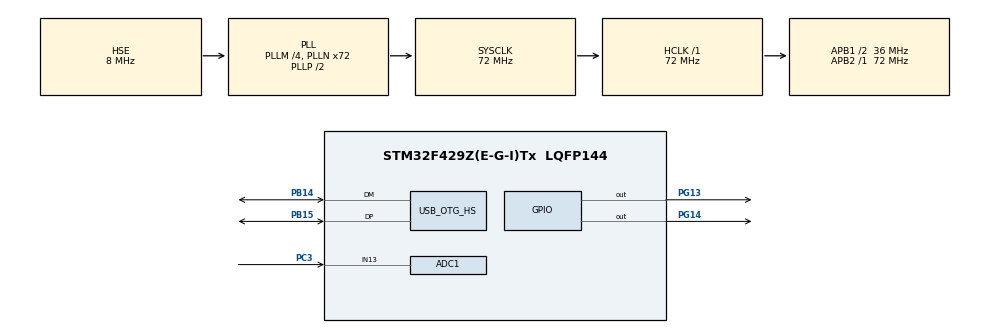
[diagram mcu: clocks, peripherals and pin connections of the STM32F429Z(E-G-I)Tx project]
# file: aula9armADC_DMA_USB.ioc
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ADC1.Channel-0\#ChannelRegularConversion=ADC_CHANNEL_13
ADC1.DMAContinuousRequests=ENABLE
ADC1.ExternalTrigConv=ADC_EXTERNALTRIGCONV_T2_TRGO
ADC1.NbrOfConversionFlag=1
ADC1.Rank-0\#ChannelRegularConversion=1
ADC1.SamplingTime-0\#ChannelRegularConversion=ADC_SAMPLETIME_3CYCLES
ADC1.master=1
Dma.ADC1.0.Direction=DMA_PERIPH_TO_MEMORY
Dma.ADC1.0.FIFOMode=DMA_FIFOMODE_DISABLE
Dma.ADC1.0.Instance=DMA2_Stream0
Dma.ADC1.0.MemDataAlignment=DMA_MDATAALIGN_HALFWORD
Dma.ADC1.0.MemInc=DMA_MINC_ENABLE
Dma.ADC1.0.Mode=DMA_CIRCULAR
Dma.ADC1.0.PeriphDataAlignment=DMA_PDATAALIGN_HALFWORD
Dma.ADC1.0.PeriphInc=DMA_PINC_DISABLE
Dma.ADC1.0.Priority=DMA_PRIORITY_LOW
Dma.Request0=ADC1
Mcu.Family=STM32F4
Mcu.Name=STM32F429Z(E-G-I)Tx
Mcu.Package=LQFP144
NVIC.DMA2_Stream0_IRQn=true\:0\:0\:false\:false\:true
NVIC.OTG_HS_IRQn=true\:0\:0\:false\:false\:true
NVIC.PriorityGroup=NVIC_PRIORITYGROUP_4
PA13.Mode=Serial_Wire
PA13.Signal=SYS_JTMS-SWDIO
PA14.Mode=Serial_Wire
PA14.Signal=SYS_JTCK-SWCLK
PB14.Mode=Device_Only_FS
PB14.Signal=USB_OTG_HS_DM
PB15.Mode=Device_Only_FS
PB15.Signal=USB_OTG_HS_DP
PC3.Signal=ADCx_IN13
PG13.Signal=GPIO_Output
PG14.Signal=GPIO_Output
PH0/OSC_IN.Mode=HSE-External-Oscillator
PH0/OSC_IN.Signal=RCC_OSC_IN
PH1/OSC_OUT.Mode=HSE-External-Oscillator
PH1/OSC_OUT.Signal=RCC_OSC_OUT
ProjectManager.HeapSize=0x200
ProjectManager.StackSize=0x400
ProjectManager.TargetToolchain=MDK-ARM V5
RCC.48MHZClocksFreq_Value=48000000
RCC.AHBFreq_Value=72000000
RCC.APB1CLKDivider=RCC_HCLK_DIV2
RCC.APB1Freq_Value=36000000
RCC.APB1TimFreq_Value=72000000
RCC.APB2Freq_Value=72000000
RCC.APB2TimFreq_Value=72000000
RCC.CortexFreq_Value=72000000
RCC.HCLKFreq_Value=72000000
RCC.HSE_VALUE=8000000
RCC.HSI_VALUE=16000000
RCC.LSE_VALUE=32768
RCC.PLLM=4
RCC.PLLN=72
RCC.PLLQ=3
RCC.SYSCLKFreq_VALUE=72000000
RCC.SYSCLKSource=RCC_SYSCLKSOURCE_PLLCLK
RCC.VCOOutputFreq_Value=144000000
SH.ADCx_IN13.0=ADC1_IN13,IN13
TIM2.Period=10000
TIM2.Prescaler=2100
TIM2.TIM_MasterOutputTrigger=TIM_TRGO_UPDATE
USB_DEVICE.CLASS_NAME_HS=CDC
USB_DEVICE.VirtualModeHS=Cdc_HS
USB_OTG_HS.VirtualMode-Device_Only_FS=Device_Only_FS
VP_TIM2_VS_ClockSourceINT.Mode=Internal
VP_USB_DEVICE_VS_USB_DEVICE_CDC_HS.Mode=CDC_HS
board=aula9armADC_DMA_USB

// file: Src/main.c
/**
  ******************************************************************************
  * File Name          : main.c
  * Description        : Main program body
  ******************************************************************************
  * This notice applies to any and all portions of this file
  * that are not between comment pairs USER CODE BEGIN and
  * USER CODE END. Other portions of this file, whether
  * inserted by the user or by software development tools
  * are owned by their respective copyright owners.
  *
  * Copyright (c) 2017 STMicroelectronics International N.V.
  * All rights reserved.
  *
  * Redistribution and use in source and binary forms, with or without
  * modification, are permitted, provided that the following conditions are met:
  *
  * 1. Redistribution of source code must retain the above copyright notice,
  *    this list of conditions and the following disclaimer.
  * 2. Redistributions in binary form must reproduce the above copyright notice,
  *    this list of conditions and the following disclaimer in the documentation
  *    and/or other materials provided with the distribution.
  * 3. Neither the name of STMicroelectronics nor the names of other
  *    contributors to this software may be used to endorse or promote products
  *    derived from this software without specific written permission.
  * 4. This software, including modifications and/or derivative works of this
  *    software, must execute solely and exclusively on microcontroller or
  *    microprocessor devices manufactured by or for STMicroelectronics.
  * 5. Redistribution and use of this software other than as permitted under
  *    this license is void and will automatically terminate your rights under
  *    this license.
  *
  * THIS SOFTWARE IS PROVIDED BY STMICROELECTRONICS AND CONTRIBUTORS "AS IS"
  * AND ANY EXPRESS, IMPLIED OR STATUTORY WARRANTIES, INCLUDING, BUT NOT
  * LIMITED TO, THE IMPLIED WARRANTIES OF MERCHANTABILITY, FITNESS FOR A
  * PARTICULAR PURPOSE AND NON-INFRINGEMENT OF THIRD PARTY INTELLECTUAL PROPERTY
  * RIGHTS ARE DISCLAIMED TO THE FULLEST EXTENT PERMITTED BY LAW. IN NO EVENT
  * SHALL STMICROELECTRONICS OR CONTRIBUTORS BE LIABLE FOR ANY DIRECT, INDIRECT,
  * INCIDENTAL, SPECIAL, EXEMPLARY, OR CONSEQUENTIAL DAMAGES (INCLUDING, BUT NOT
  * LIMITED TO, PROCUREMENT OF SUBSTITUTE GOODS OR SERVICES; LOSS OF USE, DATA,
  * OR PROFITS; OR BUSINESS INTERRUPTION) HOWEVER CAUSED AND ON ANY THEORY OF
  * LIABILITY, WHETHER IN CONTRACT, STRICT LIABILITY, OR TORT (INCLUDING
  * NEGLIGENCE OR OTHERWISE) ARISING IN ANY WAY OUT OF THE USE OF THIS SOFTWARE,
  * EVEN IF ADVISED OF THE POSSIBILITY OF SUCH DAMAGE.
  *
  ******************************************************************************
  */
#include "main.h"
#include "stm32f4xx_hal.h"
#include "usb_device.h"

/* USER CODE BEGIN Includes */

#define ADC_BUFFER_SIZE 16

/* USER CODE END Includes */

ADC_HandleTypeDef hadc1;
DMA_HandleTypeDef hdma_adc1;

TIM_HandleTypeDef htim2;

/* USER CODE BEGIN PV */
/* Private variables ---------------------------------------------------------*/

extern char VCPInitialized; // indica interface USB pronta
uint8_t *USBptr; // ponteiro para inнcio do buffer de dados amostrados
uint8_t *USBptr2; // ponteiro para meio do buffer de dados amostrados
uint16_t DMA_USB_Buffer[16]; // Buffer que recebe dados do ADC
uint16_t DMA_USB_teste[]={0x3030, 0x3131, 0x3232, 0x3333, 0x3434, 0x3535,
0x3636, 0x3737, 0x3838, 0x3939, 0x4141, 0x4242, 0x4343, 0x4444,
0x4545,0x4646}; // buffer que simula dados amostrados
uint32_t flag_buffer=0; // flag para envio do buffer

/* USER CODE END PV */

void SystemClock_Config(void);
static void MX_GPIO_Init(void);
static void MX_DMA_Init(void);
static void MX_TIM2_Init(void);
static void MX_ADC1_Init(void);

/* USER CODE BEGIN PFP */
/* Private function prototypes -----------------------------------------------*/

extern uint8_t CDC_Transmit_HS(uint8_t*, uint16_t);

/* USER CODE END PFP */

int main(void)
{

  /* MCU Configuration----------------------------------------------------------*/

  /* Reset of all peripherals, Initializes the Flash interface and the Systick. */
  HAL_Init();

  /* Configure the system clock */
  SystemClock_Config();

  /* Initialize all configured peripherals */
  MX_GPIO_Init();
  MX_DMA_Init();
  MX_USB_DEVICE_Init();
  MX_TIM2_Init();
  MX_ADC1_Init();

  /* USER CODE BEGIN 2 */

	USBptr = (uint8_t*) DMA_USB_teste;
	USBptr2 = (uint8_t*)&DMA_USB_teste[8];

	while(!VCPInitialized) {
		HAL_GPIO_TogglePin(GPIOG, GPIO_PIN_14); // led red pisca se USB off
		HAL_Delay(500); }

	HAL_TIM_Base_Start_IT(&htim2);
	HAL_ADC_Start_DMA(&hadc1, (uint32_t *)DMA_USB_Buffer, (uint32_t)ADC_BUFFER_SIZE );

  /* USER CODE END 2 */

  /* Infinite loop */
  while (1)
  {
	if ( flag_buffer == 1) {
		CDC_Transmit_HS(USBptr,(uint16_t) ADC_BUFFER_SIZE);
		flag_buffer=0;
	};
	if ( flag_buffer == 2) {
		CDC_Transmit_HS(USBptr2,(uint16_t) ADC_BUFFER_SIZE);
		flag_buffer=0;
	};
  }

}

/** System Clock Configuration
*/
void SystemClock_Config(void)
{

  RCC_OscInitTypeDef RCC_OscInitStruct;
  RCC_ClkInitTypeDef RCC_ClkInitStruct;

    /**Configure the main internal regulator output voltage
    */
  __HAL_RCC_PWR_CLK_ENABLE();

  __HAL_PWR_VOLTAGESCALING_CONFIG(PWR_REGULATOR_VOLTAGE_SCALE3);

    /**Initializes the CPU, AHB and APB busses clocks
    */
  RCC_OscInitStruct.OscillatorType = RCC_OSCILLATORTYPE_HSE;
  RCC_OscInitStruct.HSEState = RCC_HSE_ON;
  RCC_OscInitStruct.PLL.PLLState = RCC_PLL_ON;
  RCC_OscInitStruct.PLL.PLLSource = RCC_PLLSOURCE_HSE;
  RCC_OscInitStruct.PLL.PLLM = 4;
  RCC_OscInitStruct.PLL.PLLN = 72;
  RCC_OscInitStruct.PLL.PLLP = RCC_PLLP_DIV2;
  RCC_OscInitStruct.PLL.PLLQ = 3;
  if (HAL_RCC_OscConfig(&RCC_OscInitStruct) != HAL_OK)
  {
    _Error_Handler(__FILE__, __LINE__);
  }

    /**Initializes the CPU, AHB and APB busses clocks
    */
  RCC_ClkInitStruct.ClockType = RCC_CLOCKTYPE_HCLK|RCC_CLOCKTYPE_SYSCLK
                              |RCC_CLOCKTYPE_PCLK1|RCC_CLOCKTYPE_PCLK2;
  RCC_ClkInitStruct.SYSCLKSource = RCC_SYSCLKSOURCE_PLLCLK;
  RCC_ClkInitStruct.AHBCLKDivider = RCC_SYSCLK_DIV1;
  RCC_ClkInitStruct.APB1CLKDivider = RCC_HCLK_DIV2;
  RCC_ClkInitStruct.APB2CLKDivider = RCC_HCLK_DIV1;

  if (HAL_RCC_ClockConfig(&RCC_ClkInitStruct, FLASH_LATENCY_2) != HAL_OK)
  {
    _Error_Handler(__FILE__, __LINE__);
  }

    /**Configure the Systick interrupt time
    */
  HAL_SYSTICK_Config(HAL_RCC_GetHCLKFreq()/1000);

    /**Configure the Systick
    */
  HAL_SYSTICK_CLKSourceConfig(SYSTICK_CLKSOURCE_HCLK);

  /* SysTick_IRQn interrupt configuration */
  HAL_NVIC_SetPriority(SysTick_IRQn, 0, 0);
}

/* ADC1 init function */
static void MX_ADC1_Init(void)
{

  ADC_ChannelConfTypeDef sConfig;

    /**Configure the global features of the ADC (Clock, Resolution, Data Alignment and number of conversion)
    */
  hadc1.Instance = ADC1;
  hadc1.Init.ClockPrescaler = ADC_CLOCK_SYNC_PCLK_DIV2;
  hadc1.Init.Resolution = ADC_RESOLUTION_12B;
  hadc1.Init.ScanConvMode = DISABLE;
  hadc1.Init.ContinuousConvMode = DISABLE;
  hadc1.Init.DiscontinuousConvMode = DISABLE;
  hadc1.Init.ExternalTrigConvEdge = ADC_EXTERNALTRIGCONVEDGE_RISING;
  hadc1.Init.ExternalTrigConv = ADC_EXTERNALTRIGCONV_T2_TRGO;
  hadc1.Init.DataAlign = ADC_DATAALIGN_RIGHT;
  hadc1.Init.NbrOfConversion = 1;
  hadc1.Init.DMAContinuousRequests = ENABLE;
  hadc1.Init.EOCSelection = ADC_EOC_SINGLE_CONV;
  if (HAL_ADC_Init(&hadc1) != HAL_OK)
  {
    _Error_Handler(__FILE__, __LINE__);
  }

    /**Configure for the selected ADC regular channel its corresponding rank in the sequencer and its sample time.
    */
  sConfig.Channel = ADC_CHANNEL_13;
  sConfig.Rank = 1;
  sConfig.SamplingTime = ADC_SAMPLETIME_3CYCLES;
  if (HAL_ADC_ConfigChannel(&hadc1, &sConfig) != HAL_OK)
  {
    _Error_Handler(__FILE__, __LINE__);
  }

}

/* TIM2 init function */
static void MX_TIM2_Init(void)
{

  TIM_ClockConfigTypeDef sClockSourceConfig;
  TIM_MasterConfigTypeDef sMasterConfig;

  htim2.Instance = TIM2;
  htim2.Init.Prescaler = 2100;
  htim2.Init.CounterMode = TIM_COUNTERMODE_UP;
  htim2.Init.Period = 10000;
  htim2.Init.ClockDivision = TIM_CLOCKDIVISION_DIV1;
  if (HAL_TIM_Base_Init(&htim2) != HAL_OK)
  {
    _Error_Handler(__FILE__, __LINE__);
  }

  sClockSourceConfig.ClockSource = TIM_CLOCKSOURCE_INTERNAL;
  if (HAL_TIM_ConfigClockSource(&htim2, &sClockSourceConfig) != HAL_OK)
  {
    _Error_Handler(__FILE__, __LINE__);
  }

  sMasterConfig.MasterOutputTrigger = TIM_TRGO_UPDATE;
  sMasterConfig.MasterSlaveMode = TIM_MASTERSLAVEMODE_DISABLE;
  if (HAL_TIMEx_MasterConfigSynchronization(&htim2, &sMasterConfig) != HAL_OK)
  {
    _Error_Handler(__FILE__, __LINE__);
  }

}

static void MX_DMA_Init(void)
{
  /* DMA controller clock enable */
  __HAL_RCC_DMA2_CLK_ENABLE();

  /* DMA interrupt init */
  /* DMA2_Stream0_IRQn interrupt configuration */
  HAL_NVIC_SetPriority(DMA2_Stream0_IRQn, 0, 0);
  HAL_NVIC_EnableIRQ(DMA2_Stream0_IRQn);

}

/** Configure pins as
        * Analog
        * Input
        * Output
        * EVENT_OUT
        * EXTI
*/
static void MX_GPIO_Init(void)
{

  GPIO_InitTypeDef GPIO_InitStruct;

  /* GPIO Ports Clock Enable */
  __HAL_RCC_GPIOH_CLK_ENABLE();
  __HAL_RCC_GPIOC_CLK_ENABLE();
  __HAL_RCC_GPIOB_CLK_ENABLE();
  __HAL_RCC_GPIOA_CLK_ENABLE();
  __HAL_RCC_GPIOG_CLK_ENABLE();

  /*Configure GPIO pin Output Level */
  HAL_GPIO_WritePin(GPIOG, GPIO_PIN_13|GPIO_PIN_14, GPIO_PIN_RESET);

  /*Configure GPIO pins : PG13 PG14 */
  GPIO_InitStruct.Pin = GPIO_PIN_13|GPIO_PIN_14;
  GPIO_InitStruct.Mode = GPIO_MODE_OUTPUT_PP;
  GPIO_InitStruct.Pull = GPIO_NOPULL;
  GPIO_InitStruct.Speed = GPIO_SPEED_FREQ_LOW;
  HAL_GPIO_Init(GPIOG, &GPIO_InitStruct);

}

/* USER CODE BEGIN 4 */

void HAL_ADC_ConvCpltCallback(ADC_HandleTypeDef* hadc) {
	flag_buffer=2;
	HAL_GPIO_WritePin(GPIOG, GPIO_PIN_13, GPIO_PIN_SET);
}
void HAL_ADC_ConvHalfCpltCallback(ADC_HandleTypeDef* hadc) {
	flag_buffer=1;
	HAL_GPIO_WritePin(GPIOG, GPIO_PIN_13, GPIO_PIN_RESET);
}

/* USER CODE END 4 */

void _Error_Handler(char * file, int line)
{
  while(1)
  {
  }
}

/************************ (C) COPYRIGHT STMicroelectronics *****END OF FILE****/
